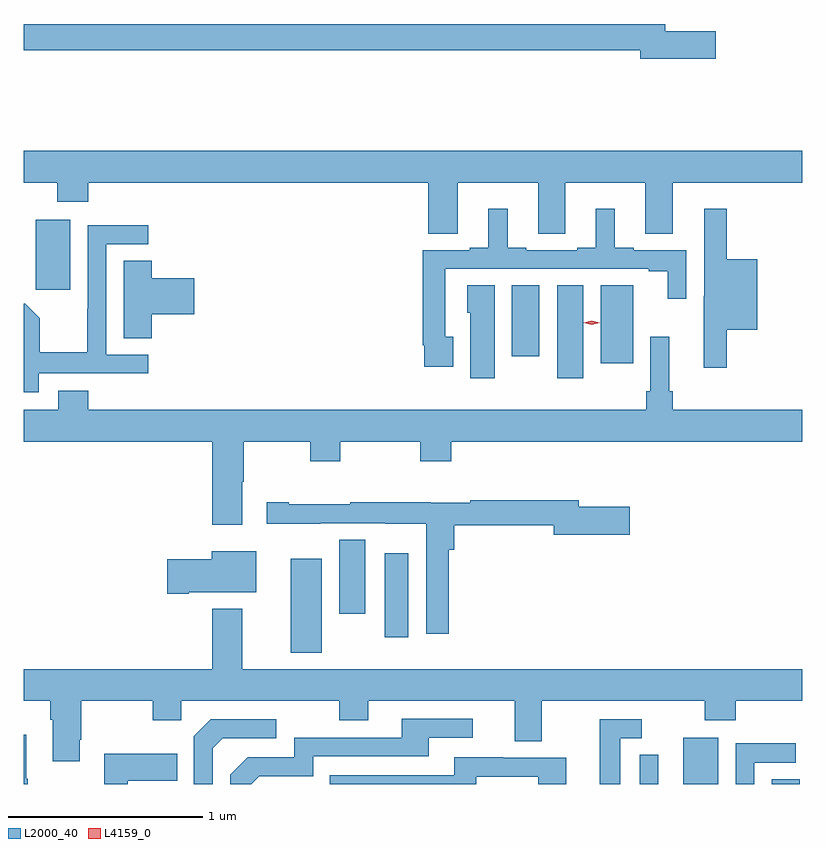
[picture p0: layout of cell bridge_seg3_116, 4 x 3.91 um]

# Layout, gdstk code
import gdstk
lib = gdstk.Library(unit=1e-6, precision=1e-09)
def R(c, l, rs):  # rectangles x0, y0, x1, y1
    for r in rs: c.add(gdstk.rectangle(r[:2], r[2:], *l))
def P(c, l, *ps):  # polygons
    for p in ps: c.add(gdstk.Polygon(p, *l))
L2000_40 = (2000, 40)
L4159_0 = (4159, 0)

bridge_seg3_116 = lib.new_cell('bridge_seg3_116')
R(bridge_seg3_116, L2000_40, [(151.356,720.469,151.452,720.62), (151.58,720.469,151.759,720.706), (152.033,720.469,152.177,720.494), (149.561,721.145,149.722,721.627), (150.044,721.224,150.166,721.654), (149.81,721.344,149.944,721.724), (150.932,722.556,151.066,723.032), (151.154,722.633,151.321,723.032), (150.698,722.667,150.838,723.032), (148.25,723.009,148.429,723.37)])
P(bridge_seg3_116, L2000_40, [(151.747,724.34),(151.486,724.34),(151.486,724.376),(148.19,724.376),(148.19,724.24),(151.358,724.24),(151.358,724.198),(151.747,724.198)],
  [(150.421,723.56),(150.833,723.56),(150.833,723.298),(150.973,723.298),(150.973,723.56),(151.385,723.56),(151.385,723.298),(151.525,723.298),(151.525,723.56),(152.19,723.56),(152.19,723.724),(148.19,723.724),(148.19,723.56),(148.36,723.56),(148.36,723.461),(148.52,723.461),(148.52,723.56),(150.269,723.56),(150.269,723.298),(150.421,723.298)],
  [(150.397,722.769),(150.357,722.769),(150.357,723.117),(151.403,723.117),(151.403,723.105),(151.499,723.105),(151.499,722.964),(151.596,722.964),(151.596,723.213),(151.324,723.213),(151.324,723.226),(151.228,723.226),(151.228,723.427),(151.13,723.427),(151.13,723.226),(151.034,723.226),(151.034,723.213),(150.772,723.213),(150.772,723.226),(150.676,723.226),(150.676,723.427),(150.578,723.427),(150.578,723.226),(150.482,723.226),(150.482,723.213),(150.241,723.213),(150.241,722.725),(150.249,722.725),(150.249,722.613),(150.397,722.613)],
  [(151.802,722.804),(151.96,722.804),(151.96,723.166),(151.802,723.166),(151.802,723.427),(151.686,723.427),(151.686,722.976),(151.685,722.976),(151.685,722.61),(151.802,722.61)],
  [(148.266,722.58),(148.828,722.58),(148.828,722.676),(148.614,722.676),(148.614,723.243),(148.828,723.243),(148.828,723.342),(148.518,723.342),(148.518,722.912),(148.516,722.912),(148.516,722.689),(148.271,722.689),(148.271,722.863),(148.194,722.94),(148.191,722.937),(148.19,722.938),(148.19,722.483),(148.266,722.483)],
  [(148.847,722.885),(149.065,722.885),(149.065,723.068),(148.847,723.068),(148.847,723.158),(148.703,723.158),(148.703,722.761),(148.847,722.761)],
  [(150.61,723.032),(150.47,723.032),(150.47,722.892),(150.485,722.892),(150.485,722.556),(150.61,722.556)],
  [(148.52,722.491),(148.367,722.491),(148.367,722.392),(148.19,722.392),(148.19,722.228),(149.159,722.228),(149.159,721.803),(149.311,721.803),(149.311,722.024),(149.319,722.024),(149.319,722.228),(149.662,722.228),(149.662,722.129),(149.817,722.129),(149.817,722.228),(150.226,722.228),(150.226,722.129),(150.386,722.129),(150.386,722.228),(152.19,722.228),(152.19,722.392),(151.526,722.392),(151.526,722.488),(151.508,722.488),(151.508,722.767),(151.41,722.767),(151.41,722.488),(151.39,722.488),(151.39,722.392),(148.52,722.392)],
  [(150.374,721.673),(150.401,721.673),(150.401,721.798),(150.914,721.798),(150.914,721.751),(151.303,721.751),(151.303,721.893),(151.042,721.893),(151.042,721.927),(150.484,721.927),(150.484,721.916),(150.282,721.916),(150.282,721.918),(149.867,721.918),(149.867,721.908),(149.551,721.908),(149.551,721.918),(149.439,721.918),(149.439,721.808),(149.714,721.808),(149.714,721.809),(150.048,721.809),(150.048,721.808),(150.258,721.808),(150.258,721.242),(150.374,721.242)],
  [(149.038,721.454),(149.383,721.454),(149.383,721.666),(149.156,721.666),(149.156,721.625),(148.926,721.625),(148.926,721.447),(149.038,721.447)],
  [(148.477,720.697),(148.485,720.697),(148.485,720.896),(148.852,720.896),(148.852,720.797),(148.998,720.797),(148.998,720.896),(149.812,720.896),(149.812,720.797),(149.959,720.797),(149.959,720.896),(150.713,720.896),(150.713,720.688),(150.853,720.688),(150.853,720.896),(151.69,720.896),(151.69,720.797),(151.85,720.797),(151.85,720.896),(152.19,720.896),(152.19,721.06),(149.311,721.06),(149.311,721.369),(149.159,721.369),(149.159,721.06),(148.19,721.06),(148.19,720.896),(148.325,720.896),(148.325,720.8),(148.337,720.8),(148.337,720.585),(148.477,720.585)],
  [(149.399,720.509),(149.676,720.509),(149.676,720.612),(150.271,720.612),(150.271,720.708),(150.496,720.708),(150.496,720.804),(150.131,720.804),(150.131,720.708),(149.58,720.708),(149.58,720.606),(149.34,720.606),(149.25,720.516),(149.25,720.469),(149.359,720.469)],
  [(151.255,720.705),(151.366,720.705),(151.366,720.801),(151.151,720.801),(151.151,720.469),(151.255,720.469)],
  [(149.16,720.654),(149.211,720.705),(149.488,720.705),(149.488,720.801),(149.151,720.801),(149.064,720.714),(149.064,720.469),(149.16,720.469)],
  [(148.209,720.497),(148.201,720.497),(148.201,720.721),(148.19,720.721),(148.19,720.469),(148.209,720.469)],
  [(151.944,720.579),(152.158,720.579),(152.158,720.678),(151.848,720.678),(151.848,720.469),(151.944,720.469)],
  [(148.723,720.485),(148.979,720.485),(148.979,720.625),(148.602,720.625),(148.602,720.469),(148.723,720.469)],
  [(150.516,720.507),(150.834,720.507),(150.834,720.469),(150.979,720.469),(150.979,720.603),(150.655,720.603),(150.655,720.607),(150.401,720.607),(150.401,720.513),(149.761,720.513),(149.761,720.469),(150.516,720.469)])
P(bridge_seg3_116, L4159_0, [(151.109,722.831),(151.067,722.841),(151.067,722.841),(151.067,722.841),(151.109,722.851),(151.15,722.841),(151.15,722.841),(151.15,722.841)])

lib.write_gds('bridge_seg3_116.gds')
